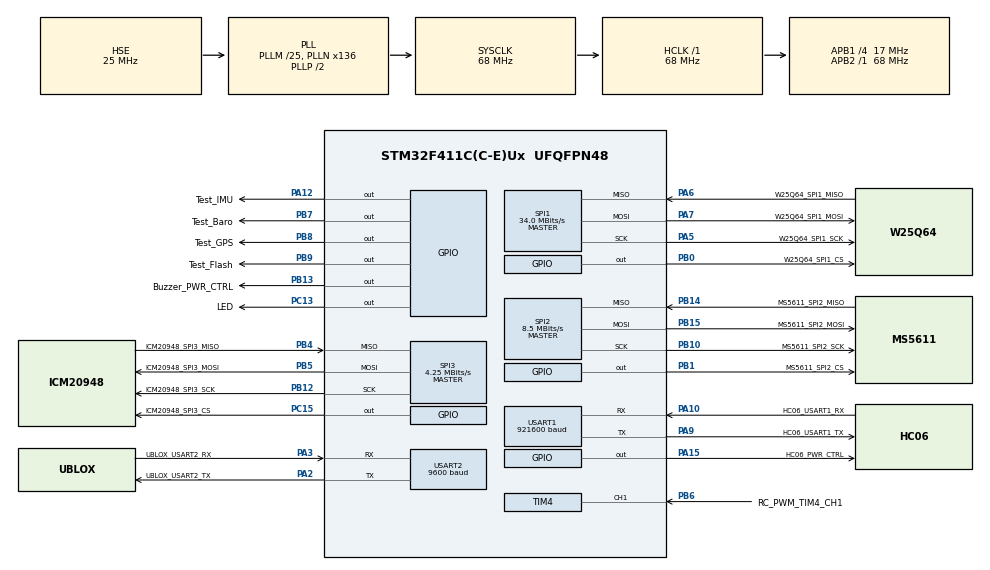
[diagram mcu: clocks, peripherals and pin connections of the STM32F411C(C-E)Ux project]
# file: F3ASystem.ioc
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Mcu.Family=STM32F4
Mcu.Name=STM32F411C(C-E)Ux
Mcu.Package=UFQFPN48
NVIC.PriorityGroup=NVIC_PRIORITYGROUP_3
NVIC.TIM1_BRK_TIM9_IRQn=true\:5\:0\:true\:false\:true\:true\:true
NVIC.TIM1_TRG_COM_TIM11_IRQn=true\:1\:0\:true\:false\:true\:true\:true
NVIC.TIM3_IRQn=true\:5\:0\:true\:false\:true\:true\:true
NVIC.TIM4_IRQn=true\:2\:1\:true\:false\:true\:true\:true
NVIC.USART1_IRQn=true\:3\:0\:true\:false\:true\:true\:true
NVIC.USART2_IRQn=true\:1\:0\:true\:false\:true\:true\:true
PA10.GPIO_Label=HC06_USART1_RX
PA10.Mode=Asynchronous
PA10.Signal=USART1_RX
PA12.GPIO_Label=Test_IMU
PA12.Signal=GPIO_Output
PA13.Mode=Serial_Wire
PA13.Signal=SYS_JTMS-SWDIO
PA14.Mode=Serial_Wire
PA14.Signal=SYS_JTCK-SWCLK
PA15.GPIO_Label=HC06_PWR_CTRL
PA15.Signal=GPIO_Output
PA2.GPIO_Label=UBLOX_USART2_TX
PA2.Mode=Asynchronous
PA2.Signal=USART2_TX
PA3.GPIO_Label=UBLOX_USART2_RX
PA3.Mode=Asynchronous
PA3.Signal=USART2_RX
PA5.GPIO_Label=W25Q64_SPI1_SCK
PA5.Mode=Full_Duplex_Master
PA5.Signal=SPI1_SCK
PA6.GPIO_Label=W25Q64_SPI1_MISO
PA6.Mode=Full_Duplex_Master
PA6.Signal=SPI1_MISO
PA7.GPIO_Label=W25Q64_SPI1_MOSI
PA7.Mode=Full_Duplex_Master
PA7.Signal=SPI1_MOSI
PA9.GPIO_Label=HC06_USART1_TX
PA9.Mode=Asynchronous
PA9.Signal=USART1_TX
PB0.GPIO_Label=W25Q64_SPI1_CS
PB0.Signal=GPIO_Output
PB1.GPIO_Label=MS5611_SPI2_CS
PB1.Signal=GPIO_Output
PB10.GPIO_Label=MS5611_SPI2_SCK
PB10.Mode=Full_Duplex_Master
PB10.Signal=SPI2_SCK
PB12.GPIO_Label=ICM20948_SPI3_SCK
PB12.Mode=Full_Duplex_Master
PB12.Signal=SPI3_SCK
PB13.GPIO_Label=Buzzer_PWR_CTRL
PB13.Signal=GPIO_Output
PB14.GPIO_Label=MS5611_SPI2_MISO
PB14.Mode=Full_Duplex_Master
PB14.Signal=SPI2_MISO
PB15.GPIO_Label=MS5611_SPI2_MOSI
PB15.Mode=Full_Duplex_Master
PB15.Signal=SPI2_MOSI
PB4.GPIO_Label=ICM20948_SPI3_MISO
PB4.Mode=Full_Duplex_Master
PB4.Signal=SPI3_MISO
PB5.GPIO_Label=ICM20948_SPI3_MOSI
PB5.Mode=Full_Duplex_Master
PB5.Signal=SPI3_MOSI
PB6.GPIO_Label=RC_PWM_TIM4_CH1
PB6.Signal=S_TIM4_CH1
PB7.GPIO_Label=Test_Baro
PB7.Signal=GPIO_Output
PB8.GPIO_Label=Test_GPS
PB8.Signal=GPIO_Output
PB9.GPIO_Label=Test_Flash
PB9.Signal=GPIO_Output
PC13-ANTI_TAMP.GPIO_Label=LED
PC13-ANTI_TAMP.Signal=GPIO_Output
PC15-OSC32_OUT.GPIO_Label=ICM20948_SPI3_CS
PC15-OSC32_OUT.Signal=GPIO_Output
PH0\ -\ OSC_IN.Mode=HSE-External-Oscillator
PH0\ -\ OSC_IN.Signal=RCC_OSC_IN
PH1\ -\ OSC_OUT.Mode=HSE-External-Oscillator
PH1\ -\ OSC_OUT.Signal=RCC_OSC_OUT
ProjectManager.HeapSize=0x200
ProjectManager.StackSize=0x400
ProjectManager.TargetToolchain=STM32CubeIDE
RCC.48MHZClocksFreq_Value=34000000
RCC.AHBFreq_Value=68000000
RCC.APB1CLKDivider=RCC_HCLK_DIV4
RCC.APB1Freq_Value=17000000
RCC.APB1TimFreq_Value=34000000
RCC.APB2Freq_Value=68000000
RCC.APB2TimFreq_Value=68000000
RCC.CortexFreq_Value=68000000
RCC.HCLKFreq_Value=68000000
RCC.HSE_VALUE=25000000
RCC.HSI_VALUE=16000000
RCC.LSE_VALUE=32768
RCC.PLLM=25
RCC.PLLN=136
RCC.PLLSourceVirtual=RCC_PLLSOURCE_HSE
RCC.SYSCLKFreq_VALUE=68000000
RCC.SYSCLKSource=RCC_SYSCLKSOURCE_PLLCLK
RCC.VCOOutputFreq_Value=136000000
SH.S_TIM4_CH1.0=TIM4_CH1,PWM_Input_1
SPI1.BaudRatePrescaler=SPI_BAUDRATEPRESCALER_2
SPI1.CalculateBaudRate=34.0 MBits/s
SPI1.DataSize=SPI_DATASIZE_8BIT
SPI1.Direction=SPI_DIRECTION_2LINES
SPI1.Mode=SPI_MODE_MASTER
SPI1.VirtualType=VM_MASTER
SPI2.BaudRatePrescaler=SPI_BAUDRATEPRESCALER_2
SPI2.CLKPhase=SPI_PHASE_2EDGE
SPI2.CLKPolarity=SPI_POLARITY_HIGH
SPI2.CalculateBaudRate=8.5 MBits/s
SPI2.DataSize=SPI_DATASIZE_8BIT
SPI2.Direction=SPI_DIRECTION_2LINES
SPI2.Mode=SPI_MODE_MASTER
SPI2.VirtualType=VM_MASTER
SPI3.BaudRatePrescaler=SPI_BAUDRATEPRESCALER_4
SPI3.CLKPhase=SPI_PHASE_1EDGE
SPI3.CLKPolarity=SPI_POLARITY_LOW
SPI3.CalculateBaudRate=4.25 MBits/s
SPI3.Direction=SPI_DIRECTION_2LINES
SPI3.Mode=SPI_MODE_MASTER
SPI3.VirtualType=VM_MASTER
TIM11.Period=42499
TIM11.Prescaler=15
TIM3.Period=34000
TIM4.Prescaler=1
TIM9.Prescaler=518
USART1.BaudRate=921600
USART1.VirtualMode=VM_ASYNC
USART2.BaudRate=9600
USART2.VirtualMode=VM_ASYNC
VP_TIM11_VS_ClockSourceINT.Mode=Enable_Timer
VP_TIM3_VS_ClockSourceINT.Mode=Internal
VP_TIM9_VS_ClockSourceINT.Mode=Internal
board=custom

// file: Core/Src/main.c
/* USER CODE BEGIN Header */
/**
  ******************************************************************************
  * @file           : main.c
  * @brief          : Main program body
  ******************************************************************************
  * @attention
  *
  * <h2><center>&copy; Copyright (c) 2020 STMicroelectronics.
  * All rights reserved.</center></h2>
  *
  * This software component is licensed by ST under BSD 3-Clause license,
  * the "License"; You may not use this file except in compliance with the
  * License. You may obtain a copy of the License at:
  *                        opensource.org/licenses/BSD-3-Clause
  *
  ******************************************************************************
  */
/* USER CODE END Header */
#include "main.h"

/* USER CODE BEGIN Includes */
#include <stdio.h>
#include <string.h>
#include "HelperFcns.h"
#include "FIFO.h"
#include "MS5611.h"
#include "UBLOXM8N.h"
#include "ICM20948.h"
#include "HC06.h"
#include "w25qxx.h"
#include "Buzzer.h"
#include "FlashMemory.h"
/* USER CODE END Includes */

/* USER CODE BEGIN PTD */
typedef enum _State_FSM
{
	Initialize_State,
	NonCalibrated_State,
	Calibrated_State,
	DataLogging_State,
} State_FSM;
typedef enum _Event_FSM
{
	Minus100_to_Zero_Event,
	Zero_to_Plus100_Event,
	Plus100_to_Zero_Event,
	Zero_to_Minus100_Event,
	Minus100_to_Plus100_Event,
	Plus100_to_Minus100_Event,
	Nothing_Event,
	BLT_Set_UsrData_Event,
	BLT_Get_UsrData_Event,
	BLT_Get_SensorData_Event,
	BLT_EraseMemory,
} Event_FSM;
typedef enum _SwitchPosition //switch position RC transceiver
{
	Minus100,
	Zero,
	Plus100,
	NonValid,
} SwitchPosition;
typedef struct _RCReceiverSignal
{
	SwitchPosition current_SwitchPosition;
	SwitchPosition old_SwitchPosition;
	uint32_t PWM_f; //frequency reading
	float PWM_DC; //duty cycle reading
	uint32_t TIM_IC_Val1; //used for frequency and DC calculation
	uint32_t TIM_IC_Val2; //used for frequency and DC calculation
	float PWM_DC_Thre; //Threshold for PWM change detection
	float PWM_DC_Minus100; //predefined DC value for -100 switch position
	float PWM_DC_Plus100; //predefined DC value for +100 switch position
	float PWM_DC_Zero; //predefined DC value for zero switch position
} RCReceiverSignal;

/* USER CODE END PTD */

SPI_HandleTypeDef hspi1;
SPI_HandleTypeDef hspi2;
SPI_HandleTypeDef hspi3;

TIM_HandleTypeDef htim3;
TIM_HandleTypeDef htim4;
TIM_HandleTypeDef htim9;
TIM_HandleTypeDef htim11;

UART_HandleTypeDef huart1;
UART_HandleTypeDef huart2;

/* USER CODE BEGIN PV */
//MS5611 instance
MS5611_DEVICE MS5611_Dev;
//UBLOXM8N instance
UBLOXM8N_DEVICE UBLOXM8N_Dev;
//ICM20948 instance
ICM20948_DEVICE ICM20948_Dev;
//SPI FLASH instance
W25Qxx_DEVICE W25Q64V_Dev;
//HC08 instance
HC06_DEVICE HC06_Dev;
//Buzzer
BUZZER_DEVICE BUZZER_Dev;

//FSM variables
State_FSM state_FSM; //stores current FSM state
Event_FSM event_FSM; //stores new FSM event
fifo_t queue_FSM; //stores FSm events

//Other global variables
uint8_t dataBuffer[132]; //Data buffer (holds all sensor data from 1 sampling period: 132 bytes)
uint32_t nSamples; //variable that stores total samples during the full recording
uint8_t deviceName[50]; //stores the device name. Max 50 characters
RCReceiverSignal RCReceiverS; //variable that stores FM receiver signal info and TIM_IC intermediate values
uint8_t HC06_Rx_CmdBuffer[6]; //stores commands coming via usart through the bluetooth module
uint8_t HC06_Tx_UsrData[57]; //stores general device information data to transmit
uint8_t HC06_Tx_SensorData[4096]; //stores 1 4K sector of sensor data from memory to transmit

//Debug variables to count program cycles
uint32_t cycles1; uint32_t cycles2; uint32_t cyclesDiff;
uint8_t testVar;

/* USER CODE END PV */

void SystemClock_Config(void);
static void MX_GPIO_Init(void);
static void MX_USART1_UART_Init(void);
static void MX_SPI1_Init(void);
static void MX_SPI2_Init(void);
static void MX_SPI3_Init(void);
static void MX_USART2_UART_Init(void);
static void MX_TIM9_Init(void);
static void MX_TIM11_Init(void);
static void MX_TIM4_Init(void);
static void MX_TIM3_Init(void);
/* USER CODE BEGIN PFP */

void getNextEvent(void);
void getDeviceInfo(void);
void setDeviceInfo(void);

/* USER CODE END PFP */

int main(void)
{

  /* MCU Configuration--------------------------------------------------------*/

  /* Reset of all peripherals, Initializes the Flash interface and the Systick. */
  HAL_Init();

  /* Configure the system clock */
  SystemClock_Config();

  /* Initialize all configured peripherals */
  MX_GPIO_Init();
  MX_USART1_UART_Init();
  MX_SPI1_Init();
  MX_SPI2_Init();
  MX_SPI3_Init();
  MX_USART2_UART_Init();
  MX_TIM9_Init();
  MX_TIM11_Init();
  MX_TIM4_Init();
  MX_TIM3_Init();
  /* USER CODE BEGIN 2 */

  //Initialize FSMs & other global variables
  state_FSM = Initialize_State;
  queue_FSM = fifo_create(10, sizeof(Event_FSM));

  RCReceiverS.PWM_DC_Minus100 = 12.93;
  RCReceiverS.PWM_DC_Plus100 = 7.33;
  RCReceiverS.PWM_DC_Zero = 10.13;
  RCReceiverS.PWM_DC_Thre = 0.7;

  //Initialize CS lines for SPI communications
  HAL_GPIO_WritePin(W25Q64_SPI1_CS_GPIO_Port, W25Q64_SPI1_CS_Pin, GPIO_PIN_SET);
  HAL_GPIO_WritePin(MS5611_SPI2_CS_GPIO_Port, MS5611_SPI2_CS_Pin, GPIO_PIN_SET);
  HAL_GPIO_WritePin(ICM20948_SPI3_CS_GPIO_Port, ICM20948_SPI3_CS_Pin, GPIO_PIN_SET);

  //Initialize user indicators
  HAL_GPIO_WritePin(LED_GPIO_Port, LED_Pin, GPIO_PIN_SET); //turn off led
  BUZZER_Init(&BUZZER_Dev, Buzzer_PWR_CTRL_GPIO_Port, Buzzer_PWR_CTRL_Pin, &htim3);

  //Initialize MS5611
  MS5611_Init_Device(&MS5611_Dev, &hspi2, MS5611_SPI2_CS_GPIO_Port, MS5611_SPI2_CS_Pin);
  MS5611_Set_Config(&MS5611_Dev, OSR_4096, OSR_4096);

  //Initialize ICM20948
  ICM20948_Init_Device(&ICM20948_Dev, &hspi3, ICM20948_SPI3_CS_GPIO_Port ,ICM20948_SPI3_CS_Pin);
  ICM20948_Set_Sensors_Default_Config(&ICM20948_Dev);

  //Initialize UBLOXM8N
  UBLOXM8N_Init_Device(&UBLOXM8N_Dev, &huart2);

  //Initialize W25Q64V
  W25qxx_Init_Device(&W25Q64V_Dev, &hspi1, W25Q64_SPI1_CS_GPIO_Port, W25Q64_SPI1_CS_Pin);

  //Initialize HC06
  HC06_Init_Device(&HC06_Dev, &huart1, HC06_PWR_CTRL_GPIO_Port, HC06_PWR_CTRL_Pin);
  //HC06_PowerON(&HC06_Dev);
  //HAL_Delay(500);
  //HC06_ConfigBaudRate(&HC06_Dev, BR_115200);

  //Debug wires
  HAL_GPIO_WritePin(Test_GPS_GPIO_Port, Test_GPS_Pin, GPIO_PIN_RESET);
  HAL_GPIO_WritePin(Test_IMU_GPIO_Port, Test_IMU_Pin, GPIO_PIN_RESET);
  HAL_GPIO_WritePin(Test_Baro_GPIO_Port, Test_Baro_Pin, GPIO_PIN_RESET);
  HAL_GPIO_WritePin(Test_Flash_GPIO_Port, Test_Flash_Pin, GPIO_PIN_RESET);

  /* USER CODE END 2 */

  /* Infinite loop */
  /* USER CODE BEGIN WHILE */
  while (1)
  {
	  getNextEvent();
	  switch (state_FSM)
	  {
	  case Initialize_State:
		  //Disable GPS IT uart
		  __HAL_UART_DISABLE_IT(&huart2, UART_IT_IDLE);
		  //Read device info stored in external flash and store it in MCU RAM: name and nSamples
		  getDeviceInfo();
		  //Initialization buzzer sound 2beeps + long beep
		  BUZZER_nBeeps_Blck(&BUZZER_Dev, 2);
		  BUZZER_TurnON_Blck(&BUZZER_Dev, 500);
		  //Start measuring PWM signal from receiver (tim4 ic mode)
		  HAL_TIM_IC_Start_IT(&htim4, TIM_CHANNEL_1);
		  HAL_TIM_IC_Start_IT(&htim4, TIM_CHANNEL_2);
		  //BLE power on and enable idle line interrupt on its usart
		  HC06_PowerON(&HC06_Dev);
		  //__HAL_UART_ENABLE_IT(&huart1, UART_IT_IDLE);
		  HAL_UART_Receive_IT(&huart1, &HC06_Rx_CmdBuffer[0], 6);
		  //Change FSM state
		  state_FSM = NonCalibrated_State;
		  break;
	  case NonCalibrated_State:
		  switch (event_FSM)
		  {
		  case Minus100_to_Zero_Event: //User switch from A to B --> turn off bluetooth and start calibration
			  //Turn off BLE and stop HAL_UART_IT receptions
			  HC06_PowerOFF(&HC06_Dev);
			  HAL_UART_AbortReceive_IT(&huart1);
			  //Start led blinking
			  __HAL_TIM_SET_PRESCALER(&htim9,207); //200ms time
			  HAL_TIM_Base_Start_IT(&htim9);
			  //Beep 3 times
			  BUZZER_nBeeps_Blck(&BUZZER_Dev, 3);
			  //Perform calibration operations
			  MS5611_Calibrate_Altitude(&MS5611_Dev, 5);
			  //Enable GPS IT uart
			  __HAL_UART_ENABLE_IT(&huart2, UART_IT_IDLE);
			  //Stop led blinking and turn it off
			  HAL_TIM_Base_Stop_IT(&htim9);
			  HAL_GPIO_WritePin(LED_GPIO_Port, LED_Pin, GPIO_PIN_SET);
			  //Beep 3 times
			  BUZZER_nBeeps_Blck(&BUZZER_Dev, 3);
			  //Change FSM state
			  state_FSM = Calibrated_State;
			  break;
		  case BLT_Set_UsrData_Event: //Set device information request from PC app
			  //to be completed
			  HAL_UART_Receive_IT(&huart1, &HC06_Rx_CmdBuffer[0], 6);
			  break;
		  case BLT_Get_UsrData_Event: //Get device information request from PC app
			  HC06_Tx_UsrData[0] = W25Q64V_Dev.isErased; //1 = is erased
			  memcpy(&HC06_Tx_UsrData[1],&W25Q64V_Dev.written4KSectorCount,2); //max 4kSectorCount = 2048 (only 2 bytes required)
			  memcpy(&HC06_Tx_UsrData[3],&deviceName[0],50); //device name
			  memcpy(&HC06_Tx_UsrData[53],&nSamples,4); //number of recorded samples
			  HAL_UART_Transmit(&huart1, HC06_Tx_UsrData, 57, 100);
			  HAL_UART_Receive_IT(&huart1, &HC06_Rx_CmdBuffer[0], 6);
			  break;
		  case BLT_Get_SensorData_Event:; //Get sensor data request from PC app
			  uint32_t i = 0;
			  for (i=0; i<W25Q64V_Dev.written4KSectorCount; i++)
			  {
				  W25qxx_ReadSector(&W25Q64V_Dev, &HC06_Tx_SensorData[0], i, 0, 4096);
				  HAL_UART_Transmit(&huart1, &HC06_Tx_SensorData[0], 4096, 1000);
				  HAL_Delay(120);
			  }
			  HAL_UART_Receive_IT(&huart1, &HC06_Rx_CmdBuffer[0], 6);
			  break;
		  case BLT_EraseMemory:
			  W25qxx_EraseChip(&W25Q64V_Dev);
			  W25qxx_IsErased(&W25Q64V_Dev);
			  nSamples = 0;
			  uint8_t n = 0;
			  for (n=0; n<50; n++)
			  {
				  deviceName[n] = ' ';
			  }
			  setDeviceInfo();
			  HAL_UART_Receive_IT(&huart1, &HC06_Rx_CmdBuffer[0], 6);
			  break;
		  default:
			  break;
		  }
		  break;
	  case Calibrated_State:
		  switch (event_FSM)
		  {
		  case Zero_to_Plus100_Event: // --> erase flash and start recording sensors
			  //Stop beeping if is running and beep 2 times
			  BUZZER_Beep_Stop(&BUZZER_Dev);
			  BUZZER_nBeeps_Blck(&BUZZER_Dev, 2);
			  //Start led blinking
			  __HAL_TIM_SET_PRESCALER(&htim9,207); //200ms time
			  HAL_TIM_Base_Start_IT(&htim9);
			  //Erase flash memory if not empty
			  if (!W25qxx_IsErased(&W25Q64V_Dev))
			  {
				  W25qxx_EraseWrittenMemory(&W25Q64V_Dev);
			  }
			  //Clear the samples counter
			  nSamples = 0; //in MCU RAM
			  setDeviceInfo(); //in flash
			  //Stop led blinking and turn it off
			  HAL_TIM_Base_Stop_IT(&htim9);
			  HAL_GPIO_WritePin(LED_GPIO_Port, LED_Pin, GPIO_PIN_SET);
			  //Beep 2 times
			  BUZZER_nBeeps_Blck(&BUZZER_Dev, 2);
			  //Start acquisition timer
			  HAL_TIM_Base_Start_IT(&htim11);
			  //Change FSM state
			  state_FSM = DataLogging_State;
			  break;
		  case Zero_to_Minus100_Event: // --> go back to non calibrated state and turn bluetooth on
			  //Stop buzzer beeping if running
			  BUZZER_Beep_Stop(&BUZZER_Dev);
			  BUZZER_nBeeps_Blck(&BUZZER_Dev, 2);
			  BUZZER_TurnON_Blck(&BUZZER_Dev, 500);
			  //Disable GPS IT uart
			  __HAL_UART_DISABLE_IT(&huart2, UART_IT_IDLE);
			  //Turn on BLE
			  HC06_PowerON(&HC06_Dev);
			  //__HAL_UART_ENABLE_IT(&huart1, UART_IT_IDLE);
			  HAL_UART_Receive_IT(&huart1, &HC06_Rx_CmdBuffer[0], 6);
			  //Change FSM state
			  state_FSM = NonCalibrated_State;
			  break;
		  default: // --> by default keep looking if GPS got a fix position..
			  if ((UBLOXM8N_Dev.navResult == Fix)&&(BUZZER_Dev.itState)) //if GPS is fix and beep has not been stopped
			  {
				  BUZZER_Beep_Stop(&BUZZER_Dev);
			  }
			  else if ((UBLOXM8N_Dev.navResult != Fix)&&(!BUZZER_Dev.itState)) //if GPS is not fix and beep has not started
			  {
				  BUZZER_Beep_Start(&BUZZER_Dev, 200, 1000);
			  }
		  }
		  break;
	  case DataLogging_State:
		  switch (event_FSM)
		  {
		  case Plus100_to_Zero_Event:
			  //Stop acquisition timer
			  HAL_TIM_Base_Stop_IT(&htim11);
			  //Store device info in external flash and MCU RAM
			  setDeviceInfo(); //stores nSamples saved (and device name)
			  //Beep 3 times
			  BUZZER_nBeeps_Blck(&BUZZER_Dev, 3);
			  //Change FSM state
			  state_FSM = Calibrated_State;
			  break;
		  default:
			  break;
		  }
		  break;
	  default:
		  break;
	  }

    /* USER CODE END WHILE */

  }
}

void SystemClock_Config(void)
{
  RCC_OscInitTypeDef RCC_OscInitStruct = {0};
  RCC_ClkInitTypeDef RCC_ClkInitStruct = {0};

  /** Configure the main internal regulator output voltage
  */
  __HAL_RCC_PWR_CLK_ENABLE();
  __HAL_PWR_VOLTAGESCALING_CONFIG(PWR_REGULATOR_VOLTAGE_SCALE1);
  /** Initializes the RCC Oscillators according to the specified parameters
  * in the RCC_OscInitTypeDef structure.
  */
  RCC_OscInitStruct.OscillatorType = RCC_OSCILLATORTYPE_HSE;
  RCC_OscInitStruct.HSEState = RCC_HSE_ON;
  RCC_OscInitStruct.PLL.PLLState = RCC_PLL_ON;
  RCC_OscInitStruct.PLL.PLLSource = RCC_PLLSOURCE_HSE;
  RCC_OscInitStruct.PLL.PLLM = 25;
  RCC_OscInitStruct.PLL.PLLN = 136;
  RCC_OscInitStruct.PLL.PLLP = RCC_PLLP_DIV2;
  RCC_OscInitStruct.PLL.PLLQ = 4;
  if (HAL_RCC_OscConfig(&RCC_OscInitStruct) != HAL_OK)
  {
    Error_Handler();
  }
  /** Initializes the CPU, AHB and APB buses clocks
  */
  RCC_ClkInitStruct.ClockType = RCC_CLOCKTYPE_HCLK|RCC_CLOCKTYPE_SYSCLK
                              |RCC_CLOCKTYPE_PCLK1|RCC_CLOCKTYPE_PCLK2;
  RCC_ClkInitStruct.SYSCLKSource = RCC_SYSCLKSOURCE_PLLCLK;
  RCC_ClkInitStruct.AHBCLKDivider = RCC_SYSCLK_DIV1;
  RCC_ClkInitStruct.APB1CLKDivider = RCC_HCLK_DIV4;
  RCC_ClkInitStruct.APB2CLKDivider = RCC_HCLK_DIV1;

  if (HAL_RCC_ClockConfig(&RCC_ClkInitStruct, FLASH_LATENCY_2) != HAL_OK)
  {
    Error_Handler();
  }
}

static void MX_SPI1_Init(void)
{

  /* SPI1 parameter configuration*/
  hspi1.Instance = SPI1;
  hspi1.Init.Mode = SPI_MODE_MASTER;
  hspi1.Init.Direction = SPI_DIRECTION_2LINES;
  hspi1.Init.DataSize = SPI_DATASIZE_8BIT;
  hspi1.Init.CLKPolarity = SPI_POLARITY_LOW;
  hspi1.Init.CLKPhase = SPI_PHASE_1EDGE;
  hspi1.Init.NSS = SPI_NSS_SOFT;
  hspi1.Init.BaudRatePrescaler = SPI_BAUDRATEPRESCALER_2;
  hspi1.Init.FirstBit = SPI_FIRSTBIT_MSB;
  hspi1.Init.TIMode = SPI_TIMODE_DISABLE;
  hspi1.Init.CRCCalculation = SPI_CRCCALCULATION_DISABLE;
  hspi1.Init.CRCPolynomial = 10;
  if (HAL_SPI_Init(&hspi1) != HAL_OK)
  {
    Error_Handler();
  }

}

static void MX_SPI2_Init(void)
{

  /* SPI2 parameter configuration*/
  hspi2.Instance = SPI2;
  hspi2.Init.Mode = SPI_MODE_MASTER;
  hspi2.Init.Direction = SPI_DIRECTION_2LINES;
  hspi2.Init.DataSize = SPI_DATASIZE_8BIT;
  hspi2.Init.CLKPolarity = SPI_POLARITY_HIGH;
  hspi2.Init.CLKPhase = SPI_PHASE_2EDGE;
  hspi2.Init.NSS = SPI_NSS_SOFT;
  hspi2.Init.BaudRatePrescaler = SPI_BAUDRATEPRESCALER_2;
  hspi2.Init.FirstBit = SPI_FIRSTBIT_MSB;
  hspi2.Init.TIMode = SPI_TIMODE_DISABLE;
  hspi2.Init.CRCCalculation = SPI_CRCCALCULATION_DISABLE;
  hspi2.Init.CRCPolynomial = 10;
  if (HAL_SPI_Init(&hspi2) != HAL_OK)
  {
    Error_Handler();
  }

}

static void MX_SPI3_Init(void)
{

  /* SPI3 parameter configuration*/
  hspi3.Instance = SPI3;
  hspi3.Init.Mode = SPI_MODE_MASTER;
  hspi3.Init.Direction = SPI_DIRECTION_2LINES;
  hspi3.Init.DataSize = SPI_DATASIZE_8BIT;
  hspi3.Init.CLKPolarity = SPI_POLARITY_LOW;
  hspi3.Init.CLKPhase = SPI_PHASE_1EDGE;
  hspi3.Init.NSS = SPI_NSS_SOFT;
  hspi3.Init.BaudRatePrescaler = SPI_BAUDRATEPRESCALER_4;
  hspi3.Init.FirstBit = SPI_FIRSTBIT_MSB;
  hspi3.Init.TIMode = SPI_TIMODE_DISABLE;
  hspi3.Init.CRCCalculation = SPI_CRCCALCULATION_DISABLE;
  hspi3.Init.CRCPolynomial = 10;
  if (HAL_SPI_Init(&hspi3) != HAL_OK)
  {
    Error_Handler();
  }

}

static void MX_TIM3_Init(void)
{

  TIM_ClockConfigTypeDef sClockSourceConfig = {0};
  TIM_MasterConfigTypeDef sMasterConfig = {0};

  htim3.Instance = TIM3;
  htim3.Init.Prescaler = 0;
  htim3.Init.CounterMode = TIM_COUNTERMODE_UP;
  htim3.Init.Period = 34000;
  htim3.Init.ClockDivision = TIM_CLOCKDIVISION_DIV1;
  htim3.Init.AutoReloadPreload = TIM_AUTORELOAD_PRELOAD_DISABLE;
  if (HAL_TIM_Base_Init(&htim3) != HAL_OK)
  {
    Error_Handler();
  }
  sClockSourceConfig.ClockSource = TIM_CLOCKSOURCE_INTERNAL;
  if (HAL_TIM_ConfigClockSource(&htim3, &sClockSourceConfig) != HAL_OK)
  {
    Error_Handler();
  }
  sMasterConfig.MasterOutputTrigger = TIM_TRGO_RESET;
  sMasterConfig.MasterSlaveMode = TIM_MASTERSLAVEMODE_DISABLE;
  if (HAL_TIMEx_MasterConfigSynchronization(&htim3, &sMasterConfig) != HAL_OK)
  {
    Error_Handler();
  }

}

static void MX_TIM4_Init(void)
{

  TIM_SlaveConfigTypeDef sSlaveConfig = {0};
  TIM_IC_InitTypeDef sConfigIC = {0};
  TIM_MasterConfigTypeDef sMasterConfig = {0};

  htim4.Instance = TIM4;
  htim4.Init.Prescaler = 1;
  htim4.Init.CounterMode = TIM_COUNTERMODE_UP;
  htim4.Init.Period = 65535;
  htim4.Init.ClockDivision = TIM_CLOCKDIVISION_DIV1;
  htim4.Init.AutoReloadPreload = TIM_AUTORELOAD_PRELOAD_DISABLE;
  if (HAL_TIM_IC_Init(&htim4) != HAL_OK)
  {
    Error_Handler();
  }
  sSlaveConfig.SlaveMode = TIM_SLAVEMODE_RESET;
  sSlaveConfig.InputTrigger = TIM_TS_TI1FP1;
  sSlaveConfig.TriggerPolarity = TIM_INPUTCHANNELPOLARITY_RISING;
  sSlaveConfig.TriggerPrescaler = TIM_ICPSC_DIV1;
  sSlaveConfig.TriggerFilter = 0;
  if (HAL_TIM_SlaveConfigSynchro(&htim4, &sSlaveConfig) != HAL_OK)
  {
    Error_Handler();
  }
  sConfigIC.ICPolarity = TIM_INPUTCHANNELPOLARITY_RISING;
  sConfigIC.ICSelection = TIM_ICSELECTION_DIRECTTI;
  sConfigIC.ICPrescaler = TIM_ICPSC_DIV1;
  sConfigIC.ICFilter = 0;
  if (HAL_TIM_IC_ConfigChannel(&htim4, &sConfigIC, TIM_CHANNEL_1) != HAL_OK)
  {
    Error_Handler();
  }
  sConfigIC.ICPolarity = TIM_INPUTCHANNELPOLARITY_FALLING;
  sConfigIC.ICSelection = TIM_ICSELECTION_INDIRECTTI;
  if (HAL_TIM_IC_ConfigChannel(&htim4, &sConfigIC, TIM_CHANNEL_2) != HAL_OK)
  {
    Error_Handler();
  }
  sMasterConfig.MasterOutputTrigger = TIM_TRGO_RESET;
  sMasterConfig.MasterSlaveMode = TIM_MASTERSLAVEMODE_DISABLE;
  if (HAL_TIMEx_MasterConfigSynchronization(&htim4, &sMasterConfig) != HAL_OK)
  {
    Error_Handler();
  }

}

static void MX_TIM9_Init(void)
{

  TIM_ClockConfigTypeDef sClockSourceConfig = {0};

  htim9.Instance = TIM9;
  htim9.Init.Prescaler = 518;
  htim9.Init.CounterMode = TIM_COUNTERMODE_UP;
  htim9.Init.Period = 65535;
  htim9.Init.ClockDivision = TIM_CLOCKDIVISION_DIV1;
  htim9.Init.AutoReloadPreload = TIM_AUTORELOAD_PRELOAD_DISABLE;
  if (HAL_TIM_Base_Init(&htim9) != HAL_OK)
  {
    Error_Handler();
  }
  sClockSourceConfig.ClockSource = TIM_CLOCKSOURCE_INTERNAL;
  if (HAL_TIM_ConfigClockSource(&htim9, &sClockSourceConfig) != HAL_OK)
  {
    Error_Handler();
  }

}

static void MX_TIM11_Init(void)
{

  htim11.Instance = TIM11;
  htim11.Init.Prescaler = 15;
  htim11.Init.CounterMode = TIM_COUNTERMODE_UP;
  htim11.Init.Period = 42499;
  htim11.Init.ClockDivision = TIM_CLOCKDIVISION_DIV1;
  htim11.Init.AutoReloadPreload = TIM_AUTORELOAD_PRELOAD_DISABLE;
  if (HAL_TIM_Base_Init(&htim11) != HAL_OK)
  {
    Error_Handler();
  }

}

static void MX_USART1_UART_Init(void)
{

  huart1.Instance = USART1;
  huart1.Init.BaudRate = 921600;
  huart1.Init.WordLength = UART_WORDLENGTH_8B;
  huart1.Init.StopBits = UART_STOPBITS_1;
  huart1.Init.Parity = UART_PARITY_NONE;
  huart1.Init.Mode = UART_MODE_TX_RX;
  huart1.Init.HwFlowCtl = UART_HWCONTROL_NONE;
  huart1.Init.OverSampling = UART_OVERSAMPLING_16;
  if (HAL_UART_Init(&huart1) != HAL_OK)
  {
    Error_Handler();
  }

}

static void MX_USART2_UART_Init(void)
{

  huart2.Instance = USART2;
  huart2.Init.BaudRate = 9600;
  huart2.Init.WordLength = UART_WORDLENGTH_8B;
  huart2.Init.StopBits = UART_STOPBITS_1;
  huart2.Init.Parity = UART_PARITY_NONE;
  huart2.Init.Mode = UART_MODE_TX_RX;
  huart2.Init.HwFlowCtl = UART_HWCONTROL_NONE;
  huart2.Init.OverSampling = UART_OVERSAMPLING_16;
  if (HAL_UART_Init(&huart2) != HAL_OK)
  {
    Error_Handler();
  }

}

static void MX_GPIO_Init(void)
{
  GPIO_InitTypeDef GPIO_InitStruct = {0};

  /* GPIO Ports Clock Enable */
  __HAL_RCC_GPIOC_CLK_ENABLE();
  __HAL_RCC_GPIOH_CLK_ENABLE();
  __HAL_RCC_GPIOA_CLK_ENABLE();
  __HAL_RCC_GPIOB_CLK_ENABLE();

  /*Configure GPIO pin Output Level */
  HAL_GPIO_WritePin(GPIOC, LED_Pin|ICM20948_SPI3_CS_Pin, GPIO_PIN_RESET);

  /*Configure GPIO pin Output Level */
  HAL_GPIO_WritePin(GPIOB, W25Q64_SPI1_CS_Pin|MS5611_SPI2_CS_Pin|Buzzer_PWR_CTRL_Pin|Test_Baro_Pin
                          |Test_GPS_Pin|Test_Flash_Pin, GPIO_PIN_RESET);

  /*Configure GPIO pin Output Level */
  HAL_GPIO_WritePin(GPIOA, Test_IMU_Pin|HC06_PWR_CTRL_Pin, GPIO_PIN_RESET);

  /*Configure GPIO pins : LED_Pin ICM20948_SPI3_CS_Pin */
  GPIO_InitStruct.Pin = LED_Pin|ICM20948_SPI3_CS_Pin;
  GPIO_InitStruct.Mode = GPIO_MODE_OUTPUT_PP;
  GPIO_InitStruct.Pull = GPIO_NOPULL;
  GPIO_InitStruct.Speed = GPIO_SPEED_FREQ_LOW;
  HAL_GPIO_Init(GPIOC, &GPIO_InitStruct);

  /*Configure GPIO pins : W25Q64_SPI1_CS_Pin MS5611_SPI2_CS_Pin Buzzer_PWR_CTRL_Pin Test_Baro_Pin
                           Test_GPS_Pin Test_Flash_Pin */
  GPIO_InitStruct.Pin = W25Q64_SPI1_CS_Pin|MS5611_SPI2_CS_Pin|Buzzer_PWR_CTRL_Pin|Test_Baro_Pin
                          |Test_GPS_Pin|Test_Flash_Pin;
  GPIO_InitStruct.Mode = GPIO_MODE_OUTPUT_PP;
  GPIO_InitStruct.Pull = GPIO_NOPULL;
  GPIO_InitStruct.Speed = GPIO_SPEED_FREQ_LOW;
  HAL_GPIO_Init(GPIOB, &GPIO_InitStruct);

  /*Configure GPIO pins : Test_IMU_Pin HC06_PWR_CTRL_Pin */
  GPIO_InitStruct.Pin = Test_IMU_Pin|HC06_PWR_CTRL_Pin;
  GPIO_InitStruct.Mode = GPIO_MODE_OUTPUT_PP;
  GPIO_InitStruct.Pull = GPIO_NOPULL;
  GPIO_InitStruct.Speed = GPIO_SPEED_FREQ_LOW;
  HAL_GPIO_Init(GPIOA, &GPIO_InitStruct);

}

/* USER CODE BEGIN 4 */

// Helper functions
void getNextEvent(void)
{
	if(!fifo_get(queue_FSM, &event_FSM)) //if no event available
	{
		event_FSM = Nothing_Event;
	}
}
void getDeviceInfo(void)
{
	//Read device name
	W25qxx_ReadBytes(&W25Q64V_Dev, &deviceName[0], 0x7FF000, 50); //address is first byte of last 4Ksector
	//Read nSamples stored
	uint8_t nSamplesU8[4];
	W25qxx_ReadBytes(&W25Q64V_Dev, &nSamplesU8[0], 0x7FF032, 4);
	nSamples = (nSamplesU8[0] | nSamplesU8[1]<<8 | nSamplesU8[2]<<16 | nSamplesU8[3]<<24);
	if (nSamples == 0xFFFFFFFF)
	{
		nSamples = 0;
	}
}
void setDeviceInfo(void)
{
	//Erase last sector where this type of info is stored
	W25qxx_Erase4KSector(&W25Q64V_Dev, 2047);
	//Write device name and nSamples
	uint8_t buffInfo[54];
	memcpy(&buffInfo[0],&deviceName[0],50); //device name
	memcpy(&buffInfo[50],&nSamples,4); //nSamples
	W25qxx_WritePage(&W25Q64V_Dev, &buffInfo[0], 32752, 0, 54); //first page of last sector
}

//Interrupt callbacks
void HAL_TIM_PeriodElapsedCallback(TIM_HandleTypeDef *htim)
{
	if (htim == &htim11) //acquisition trigger
	{
		//Read IMU
		ICM20948_Get_AGMT_RawData(&ICM20948_Dev);
		//Start conversion or read conversion result barometer
		if (MS5611_Dev.current_ADC_Var == Pressure)
		{
			MS5611_Read_ADC(&MS5611_Dev);
			MS5611_Init_ADC_Conv(&MS5611_Dev, Temperature);
			MS5611_Get_DeltaAltitude(&MS5611_Dev);
		}
		else if (MS5611_Dev.current_ADC_Var == Temperature)
		{
			MS5611_Read_ADC(&MS5611_Dev);
			MS5611_Init_ADC_Conv(&MS5611_Dev, Pressure);
		}
		//Fill data buffer and write external flash
		float2uint8(MS5611_Dev.deltaH, &dataBuffer[0], 1);
		float2uint8(ICM20948_Dev.sensorsDataProc.accelData.x, &dataBuffer[4], 1);
		float2uint8(ICM20948_Dev.sensorsDataProc.accelData.y, &dataBuffer[8], 1);
		float2uint8(ICM20948_Dev.sensorsDataProc.accelData.z, &dataBuffer[12], 1);
		float2uint8(ICM20948_Dev.sensorsDataProc.gyroData.x, &dataBuffer[16], 1);
		float2uint8(ICM20948_Dev.sensorsDataProc.gyroData.y, &dataBuffer[20], 1);
		float2uint8(ICM20948_Dev.sensorsDataProc.gyroData.z, &dataBuffer[24], 1);
		float2uint8(ICM20948_Dev.sensorsDataProc.magnetoData.x, &dataBuffer[28], 1);
		float2uint8(ICM20948_Dev.sensorsDataProc.magnetoData.y, &dataBuffer[32], 1);
		float2uint8(ICM20948_Dev.sensorsDataProc.magnetoData.z, &dataBuffer[36], 1);
		memcpy(&dataBuffer[40],UBLOXM8N_Dev.navData,92);
		W25Q64_WriteBytes(&W25Q64V_Dev, &dataBuffer[0], 132);
		//Increment samples counter
		nSamples++;
	}
	if (htim == &htim9) //status led
	{
		HAL_GPIO_TogglePin(LED_GPIO_Port, LED_Pin);
	}
	if (htim == &htim3) //buzzer
	{
		if (BUZZER_Dev.state) //if buzzer is ON
		{
			BUZZER_OFF(&BUZZER_Dev);
			__HAL_TIM_SET_PRESCALER(&htim3,BUZZER_Dev.miliON);
		}
		else //if buzzer is OFF
		{
			BUZZER_ON(&BUZZER_Dev);
			__HAL_TIM_SET_PRESCALER(&htim3,BUZZER_Dev.miliOFF);
		}
	}
}
void UART_IdleLineCallback(UART_HandleTypeDef *huart)
{
	if (huart == &huart2) //GNSS uart idle line detection
	{
		HAL_UART_Receive_IT(&huart2, &(UBLOXM8N_Dev.pvtMsg[0]), 100); //se reciben bloques de 10 bits
	}
//	if (huart == &huart1) //Bluetooth uart idle line detection
//	{
//		HAL_UART_Receive_IT(&huart1, &HC06_Rx_CmdBuffer[0], 6); //se reciben bloques de 6 bits
//	}
}
void HAL_UART_RxCpltCallback(UART_HandleTypeDef *huart)
{
	if (huart == &huart2) //GNSS uart completed PVT message transmission
	{
		UBLOXM8N_processPVTmsg(&UBLOXM8N_Dev);
	}
	if (huart == &huart1) //HC06 full message received, generate events
	{
		if (strncmp((char*)&HC06_Rx_CmdBuffer[0],"HC06-",5) == 0) //checks first 5 characters
		{
			Event_FSM eventTemp;
			switch((char)HC06_Rx_CmdBuffer[5])
			{
			case '0': //Get device info
				eventTemp = BLT_Get_UsrData_Event;
				break;
			case '1': //Set device info
				eventTemp = BLT_Set_UsrData_Event;
				break;
			case '2': //Calib sensors
				//eventTemp = Nothing_Event;
				break;
			case '3': //Erase memory
				eventTemp = BLT_EraseMemory;
				break;
			case '4': //Read memory
				eventTemp = BLT_Get_SensorData_Event;
				break;
			default:
				break;
			}
			fifo_add(queue_FSM, &eventTemp);
		}
	}
}
void HAL_TIM_IC_CaptureCallback(TIM_HandleTypeDef *htim)
{
	if (htim == &htim4) //FM receiver signal PWM measurement
	{
		if (htim->Channel == HAL_TIM_ACTIVE_CHANNEL_1) //rising edge interrupt
		{
			//Calculate DC and frequency
			RCReceiverS.TIM_IC_Val1 = HAL_TIM_ReadCapturedValue(htim, TIM_CHANNEL_1); //rising edge val
			if (RCReceiverS.TIM_IC_Val1 != 0)
			{
				RCReceiverS.TIM_IC_Val2 = HAL_TIM_ReadCapturedValue(htim, TIM_CHANNEL_2); //falling edge val
				RCReceiverS.PWM_DC = (float)RCReceiverS.TIM_IC_Val2*100/RCReceiverS.TIM_IC_Val1;
				RCReceiverS.PWM_f = HAL_RCC_GetPCLK1Freq()/RCReceiverS.TIM_IC_Val1; //tim clock is 2xPCLK1
			}
			else
			{
				RCReceiverS.PWM_DC = 0;
				RCReceiverS.PWM_f = 0;
			}
			//Classify the value
			if ((RCReceiverS.PWM_DC > (RCReceiverS.PWM_DC_Minus100-RCReceiverS.PWM_DC_Thre)) && (RCReceiverS.PWM_DC < (RCReceiverS.PWM_DC_Minus100+RCReceiverS.PWM_DC_Thre)))
			{
				RCReceiverS.current_SwitchPosition = Minus100;
			}
			else if ((RCReceiverS.PWM_DC > (RCReceiverS.PWM_DC_Zero-RCReceiverS.PWM_DC_Thre)) && (RCReceiverS.PWM_DC < (RCReceiverS.PWM_DC_Zero+RCReceiverS.PWM_DC_Thre)))
			{
				RCReceiverS.current_SwitchPosition = Zero;
			}
			else if ((RCReceiverS.PWM_DC > (RCReceiverS.PWM_DC_Plus100-RCReceiverS.PWM_DC_Thre)) && (RCReceiverS.PWM_DC < (RCReceiverS.PWM_DC_Plus100+RCReceiverS.PWM_DC_Thre)))
			{
				RCReceiverS.current_SwitchPosition = Plus100;
			}
			else
			{
				RCReceiverS.current_SwitchPosition = NonValid;
			}

			//Detect change and generate FSM events
			if (RCReceiverS.current_SwitchPosition != RCReceiverS.old_SwitchPosition)
			{
				Event_FSM eventTemp;
				switch (RCReceiverS.old_SwitchPosition)
				{
				case Minus100:
					switch (RCReceiverS.current_SwitchPosition)
					{
					case Plus100:
						eventTemp = Minus100_to_Plus100_Event;
						break;
					case Zero:
						eventTemp = Minus100_to_Zero_Event;
						break;
					case NonValid:
						break;
					default:
						break;
					}
					break;
				case Zero:
					switch (RCReceiverS.current_SwitchPosition)
					{
					case Plus100:
						eventTemp = Zero_to_Plus100_Event;
						break;
					case Minus100:
						eventTemp = Zero_to_Minus100_Event;
						break;
					case NonValid:
						break;
					default:
						break;
					}
					break;
				case Plus100:
					switch (RCReceiverS.current_SwitchPosition)
					{
					case Minus100:
						eventTemp = Plus100_to_Minus100_Event;
						break;
					case Zero:
						eventTemp = Plus100_to_Zero_Event;
						break;
					case NonValid:
						break;
					default:
						break;
					}
					break;
				case NonValid:
					break;
				}
				fifo_add(queue_FSM, &eventTemp);
				RCReceiverS.old_SwitchPosition = RCReceiverS.current_SwitchPosition;
			}
		}
	}
}
/* USER CODE END 4 */

void Error_Handler(void)
{
}

/************************ (C) COPYRIGHT STMicroelectronics *****END OF FILE****/
